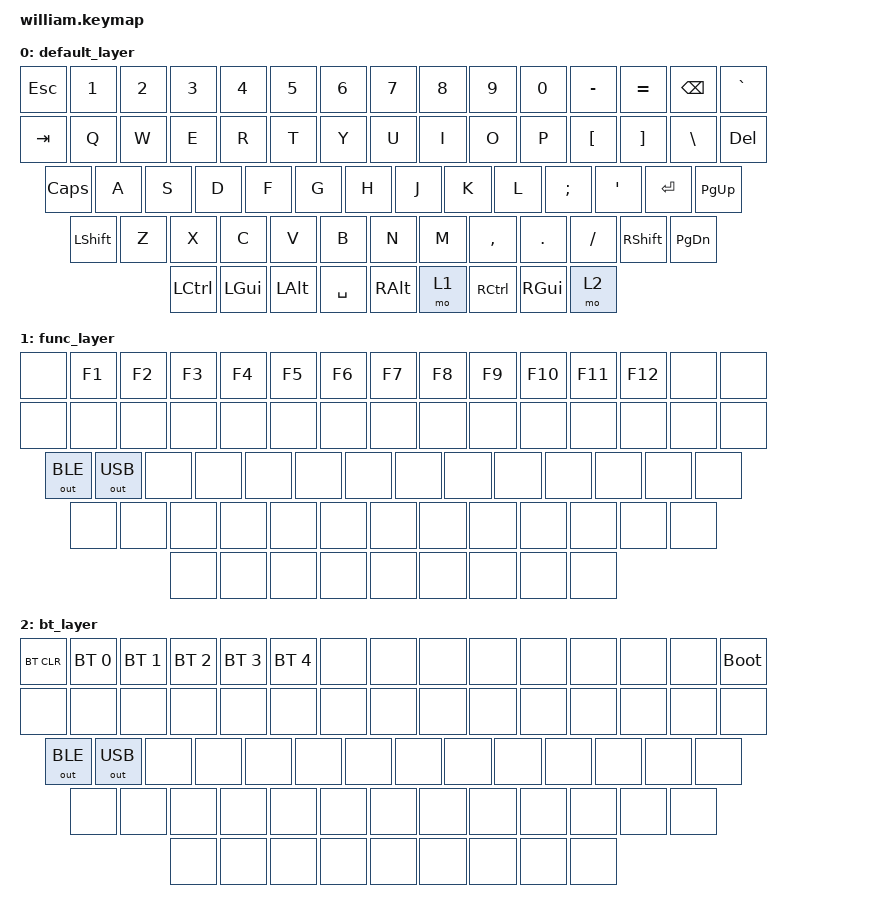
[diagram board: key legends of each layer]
/*
 * Copyright (c) 2020 The ZMK Contributors
 *
 * SPDX-License-Identifier: MIT
 */

#include <behaviors.dtsi>
#include <dt-bindings/zmk/keys.h>
#include <dt-bindings/zmk/bt.h>
#include <dt-bindings/zmk/outputs.h>


/ {
    keymap {
        compatible = "zmk,keymap";

        default_layer {
            // ------------------------------------------------------------------------
            // | ESC | 1 | 2 | 3 | 4 | 5 | 6 | 7  | 8  | 9 | 0 | - | = |    BSPC  | ` |
            // |   TAB  | Q | W | E | R | T | Y | U | I | O | P | [ | ] |  \    | DEL |
            // |    CAPS  | A | S | D | F | G | H | J | K | L | ; | ' | ENTER  | PGUP |
            // |     SHIFT | Z | X | C | V | B | N | M | , | . | / |   RSHIFT    |PGDN|
            // | LCTL | LGUI | LALT |       SPACE      | RALT |FUNC |RCTL |LEFT |BT_layer|

            bindings = <
                &kp ESC &kp N1 &kp N2 &kp N3 &kp N4 &kp N5 &kp N6 &kp N7 &kp N8 &kp N9  &kp N0  &kp MINUS &kp EQUAL &kp BSPC &kp GRAVE
                &kp TAB  &kp Q &kp W &kp E &kp R &kp T &kp Y &kp U &kp I &kp O &kp P &kp LBKT &kp RBKT &kp BSLH &kp DEL
                &kp CAPS  &kp A &kp S &kp D &kp F &kp G &kp H &kp J &kp K &kp L &kp SEMI &kp SQT &kp RET &kp PG_UP
                &kp LSHFT  &kp Z &kp X &kp C &kp V &kp B &kp N  &kp M &kp COMMA &kp DOT &kp FSLH &kp RSHFT &kp PG_DN
                &kp LCTRL &kp LGUI &kp LALT &kp SPACE &kp RALT &mo 1  &kp RCTRL &kp RGUI &mo 2
            >;
        };

        func_layer {
            // ------------------------------------------------------------------------------------------------------------
            // | NA | F1 | F2 | F3 |  F4 | F5 | F6 |  F7 | F8 | F9 |  F10 | F11 | F12 | NA  | bootloader |
            // |  NA  | NA | NA | NA | NA | NA | NA | NA | NA | NA | NA | NA | NA |  NA    | NA |
            // |    NA  | NA | NA | NA | NA | NA | NA | NA | NA | NA | ; | ' | NA  | NA |
            // |     NA | NA | NA | NA | NA | NA | NA | NA | NA | NA | NA | NA | NA |
            // | NA | NA | NA |       NA      |NA|NA|NA|NA|NA|
            bindings = <
                &none  &kp F1 &kp F2 &kp F3 &kp F4 &kp F5 &kp F6 &kp F7 &kp F8 &kp F9 &kp F10 &kp F11 &kp F12 &none &none
                &none  &none &none &none &none &none &none &none &none &none   &none     &none &none &none &none
                &out OUT_BLE  &out OUT_USB &none &none &none &none &none &none &none &none &none &none &none &none
                &none  &none &none &none &none &none &none &none &none &none &none &none &none
                &none &none &none &none &none &none &none &none &none
            >;
        };

        bt_layer {
            // ------------------------------------------------------------------------------------------------------------
            // | BT_CLEAR | BT_SEL 0 | BT_SEL 1 | BT_SEL 2 | BT_SEL 3 | BT_SEL 4 | NA | NA  | NA | NA | NA | NA | NA | NA  | bootloader |
            // |  NA  | NA | NA | NA | NA | NA | NA | NA | NA | NA | NA | NA | NA |  NA    | NA |
            // |    NA  | NA | NA | NA | NA | NA | NA | NA | NA | NA | ; | ' | NA  | NA |
            // |     NA | NA | NA | NA | NA | NA | NA | NA | NA | NA | NA | NA | NA |
            // | NA | NA | NA |       NA      |NA|NA|NA|NA|NA|
            bindings = <
                &bt BT_CLR  &bt BT_SEL 0  &bt BT_SEL 1  &bt BT_SEL 2  &bt BT_SEL 3  &bt BT_SEL 4  &none &none &none &none  &none  &none &none &none &bootloader
                &none  &none &none &none &none &none &none &none &none &none   &none     &none &none &none &none
                &out OUT_BLE  &out OUT_USB &none &none &none &none &none &none &none &none &none &none &none &none
                &none  &none &none &none &none &none &none &none &none &none &none &none &none
                &none &none &none &none &none &none &none &none &none
            >;
        };
    };
};
